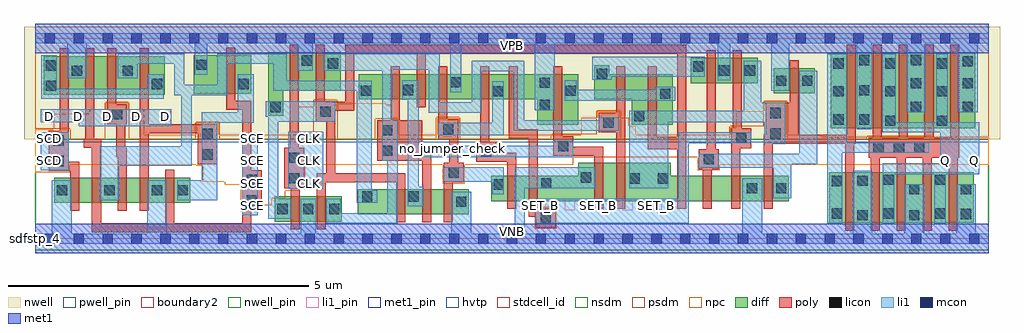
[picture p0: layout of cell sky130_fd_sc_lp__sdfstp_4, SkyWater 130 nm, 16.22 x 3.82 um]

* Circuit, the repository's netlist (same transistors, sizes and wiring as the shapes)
* Copyright 2020 The SkyWater PDK Authors
*
* Licensed under the Apache License, Version 2.0 (the "License");
* you may not use this file except in compliance with the License.
* You may obtain a copy of the License at
*
*     https://www.apache.org/licenses/LICENSE-2.0
*
* Unless required by applicable law or agreed to in writing, software
* distributed under the License is distributed on an "AS IS" BASIS,
* WITHOUT WARRANTIES OR CONDITIONS OF ANY KIND, either express or implied.
* See the License for the specific language governing permissions and
* limitations under the License.
*
* SPDX-License-Identifier: Apache-2.0

.SUBCKT sky130_fd_sc_lp__sdfstp_4 CLK D SCD SCE SET_B VGND VNB VPB VPWR Q
*.PININFO CLK:I D:I SCD:I SCE:I SET_B:I VGND:I VNB:I VPB:I VPWR:I Q:O
MI645 sceb SCE VPWR VPB sky130_fd_pr__pfet_01v8_hvt m=1 w=0.64U l=0.15U mult=1
+ sa=0.265 sb=0.265 sd=0.28 area=0.063 perim=1.14
MI658 M1 M0 VPWR VPB sky130_fd_pr__pfet_01v8_hvt m=1 w=0.42U l=0.15U mult=1 sa=0.265
+ sb=0.265 sd=0.28 area=0.063 perim=1.14
MI47 clkpos clkneg VPWR VPB sky130_fd_pr__pfet_01v8_hvt m=1 w=0.64U l=0.15U mult=1
+ sa=0.265 sb=0.265 sd=0.28 area=0.063 perim=1.14
MI663 net165 S0 VPWR VPB sky130_fd_pr__pfet_01v8_hvt m=1 w=1.26U l=0.15U mult=1
+ sa=0.265 sb=0.265 sd=0.28 area=0.063 perim=1.14
MI660 Q net165 VPWR VPB sky130_fd_pr__pfet_01v8_hvt m=4 w=1.26U l=0.15U mult=1
+ sa=0.265 sb=0.265 sd=0.28 area=0.063 perim=1.14
MI659 M1 SET_B VPWR VPB sky130_fd_pr__pfet_01v8_hvt m=1 w=0.42U l=0.15U mult=1
+ sa=0.265 sb=0.265 sd=0.28 area=0.063 perim=1.14
MI662 net104 M1 VPWR VPB sky130_fd_pr__pfet_01v8_hvt m=1 w=0.42U l=0.15U mult=1
+ sa=0.265 sb=0.265 sd=0.28 area=0.063 perim=1.14
MI664 M0 clkneg net104 VPB sky130_fd_pr__pfet_01v8_hvt m=1 w=0.42U l=0.15U mult=1
+ sa=0.265 sb=0.265 sd=0.28 area=0.063 perim=1.14
MI6 net96 S1 VPWR VPB sky130_fd_pr__pfet_01v8_hvt m=1 w=0.42U l=0.15U mult=1 sa=0.265
+ sb=0.265 sd=0.28 area=0.063 perim=1.14
MI669 S0 clkpos net96 VPB sky130_fd_pr__pfet_01v8_hvt m=1 w=0.42U l=0.15U mult=1
+ sa=0.265 sb=0.265 sd=0.28 area=0.063 perim=1.14
MI24 S0 SET_B VPWR VPB sky130_fd_pr__pfet_01v8_hvt m=1 w=0.42U l=0.15U mult=1 sa=0.265
+ sb=0.265 sd=0.28 area=0.063 perim=1.14
MI648 S1 S0 VPWR VPB sky130_fd_pr__pfet_01v8_hvt m=1 w=0.42U l=0.15U mult=1 sa=0.265
+ sb=0.265 sd=0.28 area=0.063 perim=1.14
MI38 S0 clkneg net84 VPB sky130_fd_pr__pfet_01v8_hvt m=1 w=0.84U l=0.15U mult=1
+ sa=0.265 sb=0.265 sd=0.28 area=0.063 perim=1.14
MI37 net84 M0 VPWR VPB sky130_fd_pr__pfet_01v8_hvt m=1 w=0.84U l=0.15U mult=1 sa=0.265
+ sb=0.265 sd=0.28 area=0.063 perim=1.14
MI43 db clkpos M0 VPB sky130_fd_pr__pfet_01v8_hvt m=1 w=0.42U l=0.15U mult=1 sa=0.265
+ sb=0.265 sd=0.28 area=0.063 perim=1.14
MI45 clkneg CLK VPWR VPB sky130_fd_pr__pfet_01v8_hvt m=1 w=0.64U l=0.15U mult=1
+ sa=0.265 sb=0.265 sd=0.28 area=0.063 perim=1.14
MI101 db sceb p1 VPB sky130_fd_pr__pfet_01v8_hvt m=1 w=0.64U l=0.15U mult=1 sa=0.265
+ sb=0.265 sd=0.28 area=0.063 perim=1.14
MI107 p0 SCE VPWR VPB sky130_fd_pr__pfet_01v8_hvt m=1 w=0.64U l=0.15U mult=1 sa=0.265
+ sb=0.265 sd=0.28 area=0.063 perim=1.14
MI94 db D p0 VPB sky130_fd_pr__pfet_01v8_hvt m=1 w=0.64U l=0.15U mult=1 sa=0.265
+ sb=0.265 sd=0.28 area=0.063 perim=1.14
MI108 p1 SCD VPWR VPB sky130_fd_pr__pfet_01v8_hvt m=1 w=0.64U l=0.15U mult=1 sa=0.265
+ sb=0.265 sd=0.28 area=0.063 perim=1.14
MI34 S0 clkpos net212 VNB sky130_fd_pr__nfet_01v8 m=1 w=0.64U l=0.15U mult=1 sa=0.265
+ sb=0.265 sd=0.28 area=0.063 perim=1.14
MI27 net209 S1 net157 VNB sky130_fd_pr__nfet_01v8 m=1 w=0.42U l=0.15U mult=1 sa=0.265
+ sb=0.265 sd=0.28 area=0.063 perim=1.14
MI647 S1 S0 VGND VNB sky130_fd_pr__nfet_01v8 m=1 w=0.42U l=0.15U mult=1 sa=0.265
+ sb=0.265 sd=0.28 area=0.063 perim=1.14
MI655 M0 clkpos net200 VNB sky130_fd_pr__nfet_01v8 m=1 w=0.42U l=0.15U mult=1 sa=0.265
+ sb=0.265 sd=0.28 area=0.063 perim=1.14
MI656 M1 M0 net196 VNB sky130_fd_pr__nfet_01v8 m=1 w=0.42U l=0.15U mult=1 sa=0.265
+ sb=0.265 sd=0.28 area=0.063 perim=1.14
MI654 net200 M1 VGND VNB sky130_fd_pr__nfet_01v8 m=1 w=0.42U l=0.15U mult=1 sa=0.265
+ sb=0.265 sd=0.28 area=0.063 perim=1.14
MI36 net212 M0 VGND VNB sky130_fd_pr__nfet_01v8 m=1 w=0.64U l=0.15U mult=1 sa=0.265
+ sb=0.265 sd=0.28 area=0.063 perim=1.14
MI26 S0 clkneg net209 VNB sky130_fd_pr__nfet_01v8 m=1 w=0.42U l=0.15U mult=1 sa=0.265
+ sb=0.265 sd=0.28 area=0.063 perim=1.14
MI42 db clkneg M0 VNB sky130_fd_pr__nfet_01v8 m=1 w=0.42U l=0.15U mult=1 sa=0.265
+ sb=0.265 sd=0.28 area=0.063 perim=1.14
MI46 clkpos clkneg VGND VNB sky130_fd_pr__nfet_01v8 m=1 w=0.42U l=0.15U mult=1
+ sa=0.265 sb=0.265 sd=0.28 area=0.063 perim=1.14
MI44 clkneg CLK VGND VNB sky130_fd_pr__nfet_01v8 m=1 w=0.42U l=0.15U mult=1 sa=0.265
+ sb=0.265 sd=0.28 area=0.063 perim=1.14
MI657 net196 SET_B VGND VNB sky130_fd_pr__nfet_01v8 m=1 w=0.42U l=0.15U mult=1
+ sa=0.265 sb=0.265 sd=0.28 area=0.063 perim=1.14
MI652 net165 S0 VGND VNB sky130_fd_pr__nfet_01v8 m=1 w=0.84U l=0.15U mult=1 sa=0.265
+ sb=0.265 sd=0.28 area=0.063 perim=1.14
MI644 sceb SCE VGND VNB sky130_fd_pr__nfet_01v8 m=1 w=0.42U l=0.15U mult=1 sa=0.265
+ sb=0.265 sd=0.28 area=0.063 perim=1.14
MI25 net157 SET_B VGND VNB sky130_fd_pr__nfet_01v8 m=1 w=0.42U l=0.15U mult=1 sa=0.265
+ sb=0.265 sd=0.28 area=0.063 perim=1.14
MI653 Q net165 VGND VNB sky130_fd_pr__nfet_01v8 m=4 w=0.84U l=0.15U mult=1 sa=0.265
+ sb=0.265 sd=0.28 area=0.063 perim=1.14
MI98 db D n0 VNB sky130_fd_pr__nfet_01v8 m=1 w=0.42U l=0.15U mult=1 sa=0.265 sb=0.265
+ sd=0.28 area=0.525 perim=3.1
MI103 n1 SCD VGND VNB sky130_fd_pr__nfet_01v8 m=1 w=0.42U l=0.15U mult=1 sa=0.265
+ sb=0.265 sd=0.28 area=0.525 perim=3.1
MI120 db SCE n1 VNB sky130_fd_pr__nfet_01v8 m=1 w=0.42U l=0.15U mult=1 sa=0.265
+ sb=0.265 sd=0.28 area=0.525 perim=3.1
MI104 n0 sceb VGND VNB sky130_fd_pr__nfet_01v8 m=1 w=0.42U l=0.15U mult=1 sa=0.265
+ sb=0.265 sd=0.28 area=0.525 perim=3.1
.ENDS sky130_fd_sc_lp__sdfstp_4

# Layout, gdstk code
import gdstk
lib = gdstk.Library(unit=1e-6, precision=1e-09)
def R(c, l, rs):  # rectangles x0, y0, x1, y1
    for r in rs: c.add(gdstk.rectangle(r[:2], r[2:], *l))
def A(c, l, x, y, w, h, nx, ny, dx, dy):  # array of equal rectangles
    R(c, l, [(x+i*dx, y+j*dy, x+i*dx+w, y+j*dy+h) for i in range(nx) for j in range(ny)])
def P(c, l, *ps):  # polygons
    for p in ps: c.add(gdstk.Polygon(p, *l))
nwell_pin = (64, 16)
nwell = (64, 20)
diff = (65, 20)
poly = (66, 20)
licon = (66, 44)
li1_pin = (67, 16)
li1 = (67, 20)
mcon = (67, 44)
met1_pin = (68, 16)
met1 = (68, 20)
hvtp = (78, 44)
stdcell_id = (81, 4)
nsdm = (93, 44)
psdm = (94, 20)
npc = (95, 20)
pwell_pin = (122, 16)
boundary2 = (236, 0)

sky130_fd_sc_lp__sdfstp_ = lib.new_cell('sky130_fd_sc_lp__sdfstp_4')
R(sky130_fd_sc_lp__sdfstp_, nwell_pin, [(0,3.085,15.84,3.33)])
R(sky130_fd_sc_lp__sdfstp_, nwell, [(-0.19,1.655,16.03,3.52)])
R(sky130_fd_sc_lp__sdfstp_, diff, [(13.19,0.265,15.59,1.105), (3.98,0.285,5.09,0.705), (5.36,0.405,7.2,0.825), (0.315,0.595,2.575,1.015), (13.22,1.835,15.62,3.095), (0.135,2.395,2.145,3.035), (2.635,2.405,3.585,3.045), (12.27,2.415,12.95,2.835), (10.89,2.585,12,3.005)])
P(sky130_fd_sc_lp__sdfstp_, diff, [(5.07,3.095),(3.865,3.095),(3.865,2.045),(4.115,2.045),(4.115,2.455),(5.07,2.455)],
  [(9.02,2.735),(5.37,2.735),(5.37,2.315),(8.34,2.315),(8.34,1.895),(9.02,1.895)],
  [(10.59,2.735),(9.54,2.735),(9.54,2.885),(9.29,2.885),(9.29,2.315),(9.91,2.315),(9.91,1.895),(10.59,1.895)],
  [(12.52,1.045),(10.555,1.045),(10.555,1.265),(9.025,1.265),(9.025,1.045),(7.575,1.045),(7.575,0.625),(12.52,0.625)])
P(sky130_fd_sc_lp__sdfstp_, poly, [(0.73,1.275),(0.55,1.275),(0.55,3.165),(0.4,3.165),(0.4,1.795),(0.22,1.795),(0.22,1.125),(0.58,1.125),(0.58,0.465),(0.73,0.465)],
  [(1.52,1.515),(1.49,1.515),(1.49,1.905),(1.52,1.905),(1.52,2.235),(1.34,2.235),(1.34,3.165),(1.19,3.165),(1.19,1.905),(1.34,1.905),(1.34,1.365),(1.37,1.365),(1.37,0.465),(1.52,0.465)],
  [(3.025,1.905),(1.88,1.905),(1.88,3.165),(1.73,3.165),(1.73,0.465),(1.88,0.465),(1.88,1.755),(2.695,1.755),(2.695,1.235),(3.025,1.235)],
  [(3.765,1.14),(3.585,1.14),(3.585,2.295),(3.32,2.295),(3.32,3.175),(3.17,3.175),(3.17,2.145),(3.435,2.145),(3.435,0.255),(2.31,0.255),(2.31,1.145),(2.16,1.145),(2.16,0.255),(1.09,0.255),(1.09,1.665),(0.98,1.665),(0.98,3.165),(0.83,3.165),(0.83,1.665),(0.8,1.665),(0.8,1.515),(0.94,1.515),(0.94,0.105),(3.585,0.105),(3.585,0.47),(3.765,0.47)],
  [(4.465,1.51),(4.375,1.51),(4.375,3.225),(4.225,3.225),(4.225,1.51),(4.135,1.51),(4.135,0.84),(4.245,0.84),(4.245,0.155),(4.395,0.155),(4.395,0.84),(4.465,0.84)],
  [(6.575,1.445),(6.425,1.445),(6.425,1.965),(6.055,1.965),(6.055,2.865),(5.905,2.865),(5.905,1.965),(5.68,1.965),(5.68,1.295),(6.425,1.295),(6.425,0.275),(6.575,0.275)],
  [(7.115,1.265),(7.025,1.265),(7.025,1.985),(6.845,1.985),(6.845,2.865),(6.695,2.865),(6.695,1.655),(6.875,1.655),(6.875,1.265),(6.785,1.265),(6.785,0.275),(6.935,0.275),(6.935,0.935),(7.115,0.935)],
  [(7.99,1.43),(7.655,1.43),(7.655,1.615),(7.545,1.615),(7.545,2.865),(7.395,2.865),(7.395,1.615),(7.325,1.615),(7.325,1.28),(7.84,1.28),(7.84,0.495),(7.99,0.495)],
  [(8.645,0.515),(8.35,0.515),(8.35,1.82),(8.015,1.82),(8.015,2.865),(7.865,2.865),(7.865,1.67),(8.2,1.67),(8.2,0.365),(8.315,0.365),(8.315,0.185),(8.645,0.185)],
  [(9.44,1.525),(8.935,1.525),(8.935,1.705),(8.755,1.705),(8.755,2.865),(8.605,2.865),(8.605,1.375),(9.29,1.375),(9.29,0.495),(9.44,0.495)],
  [(9.8,2.865),(9.65,2.865),(9.65,2.095),(9.36,2.095),(9.36,1.765),(9.65,1.765),(9.65,0.495),(9.8,0.495)],
  [(10.815,3.225),(5.145,3.225),(5.145,2.275),(4.805,2.275),(4.805,3.225),(4.655,3.225),(4.655,1.945),(4.835,1.945),(4.835,1.085),(4.675,1.085),(4.675,0.155),(4.825,0.155),(4.825,0.935),(5.995,0.935),(5.995,0.275),(6.145,0.275),(6.145,1.085),(4.985,1.085),(4.985,2.125),(5.295,2.125),(5.295,3.075),(6.335,3.075),(6.335,2.185),(6.485,2.185),(6.485,3.075),(10.665,3.075),(10.665,1.695),(10.325,1.695),(10.325,2.865),(10.175,2.865),(10.175,1.485),(10.665,1.485),(10.665,0.495),(10.815,0.495)],
  [(11.355,1.485),(11.305,1.485),(11.305,3.135),(11.155,3.135),(11.155,1.485),(11.025,1.485),(11.025,1.155),(11.09,1.155),(11.09,0.495),(11.24,0.495),(11.24,1.155),(11.355,1.155)],
  [(11.895,1.835),(11.735,1.835),(11.735,3.135),(11.585,3.135),(11.585,1.835),(11.565,1.835),(11.565,0.495),(11.715,0.495),(11.715,1.505),(11.895,1.505)],
  [(13.635,3.225),(13.485,3.225),(13.485,1.725),(12.685,1.725),(12.685,2.965),(12.535,2.965),(12.535,2.255),(12.135,2.255),(12.135,1.725),(12.105,1.725),(12.105,0.495),(12.255,0.495),(12.255,1.575),(13.455,1.575),(13.455,0.135),(13.605,0.135),(13.605,1.575),(13.635,1.575)],
  [(15.355,3.225),(15.205,3.225),(15.205,1.675),(14.925,1.675),(14.925,3.225),(14.775,3.225),(14.775,1.675),(14.495,1.675),(14.495,3.225),(14.345,3.225),(14.345,1.675),(14.065,1.675),(14.065,3.225),(13.915,3.225),(13.915,1.675),(13.845,1.675),(13.845,1.345),(13.885,1.345),(13.885,0.135),(14.035,0.135),(14.035,1.345),(14.315,1.345),(14.315,0.135),(14.465,0.135),(14.465,1.345),(14.745,1.345),(14.745,0.135),(14.895,0.135),(14.895,1.345),(15.175,1.345),(15.175,0.135),(15.325,0.135),(15.325,1.345),(15.355,1.345)])
A(sky130_fd_sc_lp__sdfstp_, licon, 13.23, 0.335, 0.17, 0.17, 3, 1, 0.86, 0)
A(sky130_fd_sc_lp__sdfstp_, licon, 4.02, 0.41, 0.17, 0.17, 3, 1, 0.43, 0)
A(sky130_fd_sc_lp__sdfstp_, licon, 0.355, 0.72, 0.17, 0.17, 3, 1, 0.79, 0)
A(sky130_fd_sc_lp__sdfstp_, licon, 13.925, 1.425, 0.17, 0.17, 3, 1, 0.34, 0)
A(sky130_fd_sc_lp__sdfstp_, licon, 13.26, 2.365, 0.17, 0.17, 3, 2, 0.86, 0.46)
R(sky130_fd_sc_lp__sdfstp_, licon, [(8.395,0.265,8.565,0.435), (13.66,0.305,13.83,0.475), (14.52,0.305,14.69,0.475), (15.38,0.325,15.55,0.495), (6.99,0.53,7.16,0.7), (3.515,0.55,3.685,0.72), (5.43,0.615,5.6,0.785), (6.2,0.615,6.37,0.785), (2.365,0.72,2.535,0.89), (14.52,0.735,14.69,0.905), (15.38,0.735,15.55,0.905), (11.825,0.755,11.995,0.925), (12.31,0.755,12.48,0.925), (7.615,0.815,7.785,0.985), (8.405,0.835,8.575,1.005), (13.23,0.875,13.4,1.045), (13.66,0.88,13.83,1.05), (3.515,0.89,3.685,1.06), (14.09,0.895,14.26,1.065), (14.95,0.895,15.12,1.065), (9.87,0.915,10.04,1.085), (10.345,0.915,10.515,1.085), (4.215,0.92,4.385,1.09), (9.065,0.93,9.235,1.1), (6.865,1.015,7.035,1.185), (0.3,1.205,0.47,1.375), (11.105,1.235,11.275,1.405), (4.215,1.26,4.385,1.43), (2.775,1.315,2.945,1.485), (7.405,1.365,7.575,1.535), (5.76,1.375,5.93,1.545), (8.685,1.455,8.855,1.625), (0.3,1.545,0.47,1.715), (11.645,1.585,11.815,1.755), (2.775,1.655,2.945,1.825), (12.215,1.665,12.385,1.835), (5.76,1.715,5.93,1.885), (6.775,1.735,6.945,1.905), (9.44,1.845,9.61,2.015), (14.12,1.875,14.29,2.045), (14.98,1.875,15.15,2.045), (13.26,1.895,13.43,2.065), (13.69,1.895,13.86,2.065), (9.95,1.955,10.12,2.125), (1.27,1.985,1.44,2.155), (12.215,2.005,12.385,2.175), (4.735,2.025,4.905,2.195), (3.905,2.105,4.075,2.275), (14.55,2.105,14.72,2.275), (15.41,2.105,15.58,2.275), (8.38,2.135,8.55,2.305), (10.38,2.325,10.55,2.495), (7.6,2.365,7.77,2.535), (5.41,2.375,5.58,2.545), (8.81,2.375,8.98,2.545), (13.69,2.38,13.86,2.55), (6.11,2.385,6.28,2.555), (0.175,2.455,0.345,2.625), (1.935,2.485,2.105,2.655), (3.375,2.485,3.545,2.655), (14.55,2.5,14.72,2.67), (15.41,2.5,15.58,2.67), (8.38,2.505,8.55,2.675), (6.9,2.515,7.07,2.685), (12.31,2.54,12.48,2.71), (12.74,2.54,12.91,2.71), (9.33,2.655,9.5,2.825), (0.605,2.705,0.775,2.875), (1.45,2.705,1.62,2.875), (11.36,2.71,11.53,2.88), (11.79,2.71,11.96,2.88), (10.93,2.775,11.1,2.945), (0.175,2.795,0.345,2.965), (2.675,2.805,2.845,2.975), (4.86,2.825,5.03,2.995), (15.41,2.865,15.58,3.035), (4.43,2.875,4.6,3.045), (13.69,2.885,13.86,3.055), (14.55,2.885,14.72,3.055)])
A(sky130_fd_sc_lp__sdfstp_, li1_pin, 3.515, 0.47, 0.17, 0.17, 1, 4, 0, 0.37)
A(sky130_fd_sc_lp__sdfstp_, li1_pin, 8.315, 0.47, 0.17, 0.17, 5, 1, 0.48, 0)
A(sky130_fd_sc_lp__sdfstp_, li1_pin, 4.475, 0.84, 0.17, 0.17, 1, 3, 0, 0.37)
A(sky130_fd_sc_lp__sdfstp_, li1_pin, 0.155, 1.95, 0.17, 0.17, 5, 1, 0.48, 0)
R(sky130_fd_sc_lp__sdfstp_, li1_pin, [(0.155,1.21,0.325,1.38), (15.035,1.21,15.205,1.38), (15.515,1.21,15.685,1.38), (0.155,1.58,0.325,1.75)])
R(sky130_fd_sc_lp__sdfstp_, li1, [(3.435,0.39,3.695,1.76), (4.205,0.83,4.78,1.775), (0.085,1.14,0.55,1.765)])
P(sky130_fd_sc_lp__sdfstp_, li1, [(6.89,2.435),(6.89,3.245),(4.61,3.245),(4.61,2.795),(4.35,2.795),(4.35,3.245),(2.855,3.245),(2.855,2.725),(2.645,2.725),(2.645,3.245),(0.855,3.245),(0.855,2.665),(0.525,2.665),(0.525,3.245),(0,3.245),(0,3.415),(15.84,3.415),(15.84,3.245),(15.66,3.245),(15.66,2.105),(15.33,2.105),(15.33,3.245),(14.8,3.245),(14.8,2.105),(14.47,2.105),(14.47,3.245),(13.9,3.245),(13.9,1.815),(13.65,1.815),(13.65,3.245),(12.525,3.245),(12.525,2.46),(12.23,2.46),(12.23,3.245),(11.55,3.245),(11.55,2.63),(11.34,2.63),(11.34,3.245),(8.63,3.245),(8.63,2.135),(8.3,2.135),(8.3,3.245),(7.08,3.245),(7.08,2.435)],
  [(11.745,0.085),(11.745,1.005),(12.075,1.005),(12.075,0.085),(13.58,0.085),(13.58,1.13),(13.91,1.13),(13.91,0.085),(14.44,0.085),(14.44,0.905),(14.77,0.905),(14.77,0.085),(15.3,0.085),(15.3,0.905),(15.63,0.905),(15.63,0.085),(15.84,0.085),(15.84,-0.085),(0,-0.085),(0,0.085),(0.275,0.085),(0.275,0.97),(0.605,0.97),(0.605,0.085),(1.855,0.085),(1.855,0.97),(2.185,0.97),(2.185,0.085),(4.41,0.085),(4.41,0.66),(4.66,0.66),(4.66,0.085),(6.91,0.085),(6.91,0.78),(7.24,0.78),(7.24,0.085),(7.965,0.085),(7.965,1.185),(9.315,1.185),(9.315,0.835),(8.135,0.835),(8.135,0.085)],
  [(3.865,2.025),(3.825,2.025),(3.825,2.285),(4.985,2.285),(4.985,1.945),(4.035,1.945),(4.035,0.66),(4.24,0.66),(4.24,0.33),(3.865,0.33)],
  [(3.025,3.075),(4.18,3.075),(4.18,2.625),(5.59,2.625),(5.59,0.805),(5.68,0.805),(5.68,0.595),(5.34,0.595),(5.34,2.455),(3.955,2.455),(3.955,2.905),(3.195,2.905),(3.195,2.385),(2.595,2.385),(2.595,1.215),(1.395,1.215),(1.395,0.64),(1.065,0.64),(1.065,1.54),(2.425,1.54),(2.425,2.385),(2.305,2.385),(2.305,2.905),(1.7,2.905),(1.7,2.665),(1.37,2.665),(1.37,3.075),(2.475,3.075),(2.475,2.555),(3.025,2.555)],
  [(7.59,1.925),(7.59,2.615),(7.78,2.615),(7.78,1.715),(6.695,1.715),(6.695,1.925)],
  [(8.12,2.955),(8.12,1.965),(9.36,1.965),(9.36,2.015),(9.69,2.015),(9.69,1.795),(7.95,1.795),(7.95,2.785),(7.42,2.785),(7.42,2.095),(6.54,2.095),(6.54,2.805),(5.93,2.805),(5.93,1.965),(6.02,1.965),(6.02,0.255),(4.83,0.255),(4.83,0.66),(5.07,0.66),(5.07,0.425),(5.85,0.425),(5.85,1.295),(5.76,1.295),(5.76,2.795),(4.78,2.795),(4.78,3.075),(6.72,3.075),(6.72,2.265),(7.25,2.265),(7.25,2.955)],
  [(11.895,1.765),(11.895,1.585),(10.855,1.585),(10.855,0.255),(8.305,0.255),(8.305,0.665),(10.685,0.665),(10.685,1.765)],
  [(2.255,2.155),(0.085,2.155),(0.085,1.935),(0.72,1.935),(0.72,1.87),(2.255,1.87)],
  [(14.3,1.935),(14.97,1.935),(14.97,3.075),(15.16,3.075),(15.16,1.935),(15.685,1.935),(15.685,1.075),(15.13,1.075),(15.13,0.255),(14.94,0.255),(14.94,1.075),(14.27,1.075),(14.27,0.255),(14.08,0.255),(14.08,1.255),(15.035,1.255),(15.035,1.765),(14.07,1.765),(14.07,3.075),(14.3,3.075)],
  [(13.48,1.595),(14.855,1.595),(14.855,1.425),(13.41,1.425),(13.41,0.255),(13.16,0.255),(13.16,3.075),(13.48,3.075)],
  [(12.695,1.415),(12.695,2.79),(12.99,2.79),(12.99,1.235),(12.56,1.235),(12.56,0.675),(12.265,0.675),(12.265,1.175),(11.025,1.175),(11.025,1.415)],
  [(11.77,2.125),(11.77,2.96),(12.06,2.96),(12.06,2.255),(12.465,2.255),(12.465,1.585),(12.11,1.585),(12.11,1.935),(10.515,1.935),(10.515,0.835),(9.87,0.835),(9.87,2.125)],
  [(9,2.475),(10.3,2.475),(10.3,2.525),(10.63,2.525),(10.63,2.295),(8.8,2.295),(8.8,2.635),(9,2.635)],
  [(11.12,3.025),(11.12,2.695),(9.58,2.695),(9.58,2.645),(9.25,2.645),(9.25,3.025)],
  [(6.37,1.545),(8.605,1.545),(8.605,1.625),(8.935,1.625),(8.935,1.355),(6.37,1.355),(6.37,0.865),(6.45,0.865),(6.45,0.535),(6.19,0.535),(6.19,2.305),(6.1,2.305),(6.1,2.635),(6.37,2.635)],
  [(3.365,2.1),(3.365,2.735),(3.625,2.735),(3.625,1.93),(3.025,1.93),(3.025,0.64),(2.355,0.64),(2.355,0.97),(2.765,0.97),(2.765,2.1)],
  [(0.355,2.495),(1.87,2.495),(1.87,2.735),(2.135,2.735),(2.135,2.325),(0.095,2.325),(0.095,3.045),(0.355,3.045)],
  [(6.785,0.95),(6.785,1.185),(7.785,1.185),(7.785,0.735),(7.595,0.735),(7.595,0.95)])
A(sky130_fd_sc_lp__sdfstp_, mcon, 0.155, -0.085, 0.17, 0.17, 33, 2, 0.48, 3.33)
R(sky130_fd_sc_lp__sdfstp_, met1_pin, [(0,0,15.84,0.245), (0,3.085,15.84,3.33)])
R(sky130_fd_sc_lp__sdfstp_, met1, [(0,-0.245,15.84,0.245), (0,3.085,15.84,3.575)])
R(sky130_fd_sc_lp__sdfstp_, hvtp, [(0,1.6,15.84,3.33)])
R(sky130_fd_sc_lp__sdfstp_, stdcell_id, [(0,0,15.84,3.33)])
R(sky130_fd_sc_lp__sdfstp_, nsdm, [(0,-0.19,15.84,1.655)])
P(sky130_fd_sc_lp__sdfstp_, psdm, [(15.84,3.52),(0,3.52),(0,1.825),(0.58,1.825),(0.58,1.655),(1.16,1.655),(1.16,2.265),(1.55,2.265),(1.55,1.655),(2.665,1.655),(2.665,1.935),(3.055,1.935),(3.055,1.655),(4.625,1.655),(4.625,2.305),(5.015,2.305),(5.015,1.655),(5.65,1.655),(5.65,1.995),(6.04,1.995),(6.04,1.655),(6.665,1.655),(6.665,2.015),(7.055,2.015),(7.055,1.655),(8.575,1.655),(8.575,1.735),(9.33,1.735),(9.33,2.125),(9.72,2.125),(9.72,1.655),(11.535,1.655),(11.535,1.865),(12.105,1.865),(12.105,2.285),(12.495,2.285),(12.495,1.655),(13.815,1.655),(13.815,1.705),(14.885,1.705),(14.885,1.655),(15.84,1.655)])
R(sky130_fd_sc_lp__sdfstp_, npc, [(8.295,0.165,8.665,0.535)])
P(sky130_fd_sc_lp__sdfstp_, npc, [(15.84,1.695),(13.08,1.695),(13.08,1.73),(12.485,1.73),(12.485,2.275),(12.115,2.275),(12.115,2.12),(11.65,2.12),(11.65,1.855),(11.545,1.855),(11.545,1.73),(9.975,1.73),(9.975,1.865),(9.86,1.865),(9.86,2.01),(9.71,2.01),(9.71,2.115),(9.34,2.115),(9.34,2.01),(9.075,2.01),(9.075,1.73),(7.045,1.73),(7.045,2.005),(6.675,2.005),(6.675,1.73),(6.03,1.73),(6.03,1.985),(5.925,1.985),(5.925,2.225),(5.815,2.225),(5.815,2.25),(5.005,2.25),(5.005,2.295),(4.635,2.295),(4.635,2.19),(4.37,2.19),(4.37,1.73),(3.045,1.73),(3.045,1.925),(2.675,1.925),(2.675,1.73),(1.805,1.73),(1.805,2.15),(1.54,2.15),(1.54,2.255),(1.17,2.255),(1.17,2.15),(0.905,2.15),(0.905,2.08),(0.305,2.08),(0.305,1.815),(0,1.815),(0,1.105),(0.57,1.105),(0.57,1.23),(2.675,1.23),(2.675,1.215),(2.78,1.215),(2.78,0.95),(3.15,0.95),(3.15,0.895),(3.415,0.895),(3.415,0.45),(3.785,0.45),(3.785,0.555),(3.93,0.555),(3.93,0.67),(4.155,0.67),(4.155,0.795),(4.38,0.795),(4.38,0.82),(4.485,0.82),(4.485,1.23),(6.765,1.23),(6.765,0.915),(7.135,0.915),(7.135,1.23),(8.935,1.23),(8.935,1.355),(11.005,1.355),(11.005,1.135),(11.375,1.135),(11.375,1.23),(15.84,1.23)])
R(sky130_fd_sc_lp__sdfstp_, pwell_pin, [(0,0,15.84,0.245)])
R(sky130_fd_sc_lp__sdfstp_, boundary2, [(0,0,15.84,3.33)])
sky130_fd_sc_lp__sdfstp_.add(gdstk.Label('VNB', (7.92,0.123), layer=64, texttype=59))
sky130_fd_sc_lp__sdfstp_.add(gdstk.Label('VPB', (7.92,3.208), layer=64, texttype=5))
sky130_fd_sc_lp__sdfstp_.add(gdstk.Label('sdfstp_4', (0,0), layer=83, texttype=44))
sky130_fd_sc_lp__sdfstp_.add(gdstk.Label('no_jumper_check', (6.925,1.505), layer=83, texttype=44))
sky130_fd_sc_lp__sdfstp_.add(gdstk.Label('VPWR', (7.92,3.208), layer=68, texttype=5))
sky130_fd_sc_lp__sdfstp_.add(gdstk.Label('VGND', (7.92,0.123), layer=68, texttype=5))
sky130_fd_sc_lp__sdfstp_.add(gdstk.Label('CLK', (4.56,0.925), layer=67, texttype=5))
sky130_fd_sc_lp__sdfstp_.add(gdstk.Label('CLK', (4.56,1.295), layer=67, texttype=5))
sky130_fd_sc_lp__sdfstp_.add(gdstk.Label('CLK', (4.56,1.665), layer=67, texttype=5))
sky130_fd_sc_lp__sdfstp_.add(gdstk.Label('SCE', (3.6,0.555), layer=67, texttype=5))
sky130_fd_sc_lp__sdfstp_.add(gdstk.Label('SCE', (3.6,0.925), layer=67, texttype=5))
sky130_fd_sc_lp__sdfstp_.add(gdstk.Label('SCE', (3.6,1.295), layer=67, texttype=5))
sky130_fd_sc_lp__sdfstp_.add(gdstk.Label('SCE', (3.6,1.665), layer=67, texttype=5))
sky130_fd_sc_lp__sdfstp_.add(gdstk.Label('SCD', (0.24,1.295), layer=67, texttype=5))
sky130_fd_sc_lp__sdfstp_.add(gdstk.Label('SCD', (0.24,1.665), layer=67, texttype=5))
sky130_fd_sc_lp__sdfstp_.add(gdstk.Label('D', (0.24,2.035), layer=67, texttype=5))
sky130_fd_sc_lp__sdfstp_.add(gdstk.Label('D', (0.72,2.035), layer=67, texttype=5))
sky130_fd_sc_lp__sdfstp_.add(gdstk.Label('D', (1.2,2.035), layer=67, texttype=5))
sky130_fd_sc_lp__sdfstp_.add(gdstk.Label('D', (1.68,2.035), layer=67, texttype=5))
sky130_fd_sc_lp__sdfstp_.add(gdstk.Label('D', (2.16,2.035), layer=67, texttype=5))
sky130_fd_sc_lp__sdfstp_.add(gdstk.Label('Q', (15.12,1.295), layer=67, texttype=5))
sky130_fd_sc_lp__sdfstp_.add(gdstk.Label('Q', (15.6,1.295), layer=67, texttype=5))
sky130_fd_sc_lp__sdfstp_.add(gdstk.Label('SET_B', (8.4,0.555), layer=67, texttype=5))
sky130_fd_sc_lp__sdfstp_.add(gdstk.Label('SET_B', (8.88,0.555), layer=67, texttype=5))
sky130_fd_sc_lp__sdfstp_.add(gdstk.Label('SET_B', (9.36,0.555), layer=67, texttype=5))
sky130_fd_sc_lp__sdfstp_.add(gdstk.Label('SET_B', (9.84,0.555), layer=67, texttype=5))
sky130_fd_sc_lp__sdfstp_.add(gdstk.Label('SET_B', (10.32,0.555), layer=67, texttype=5))

lib.write_gds('sky130_fd_sc_lp__sdfstp_4.gds')
